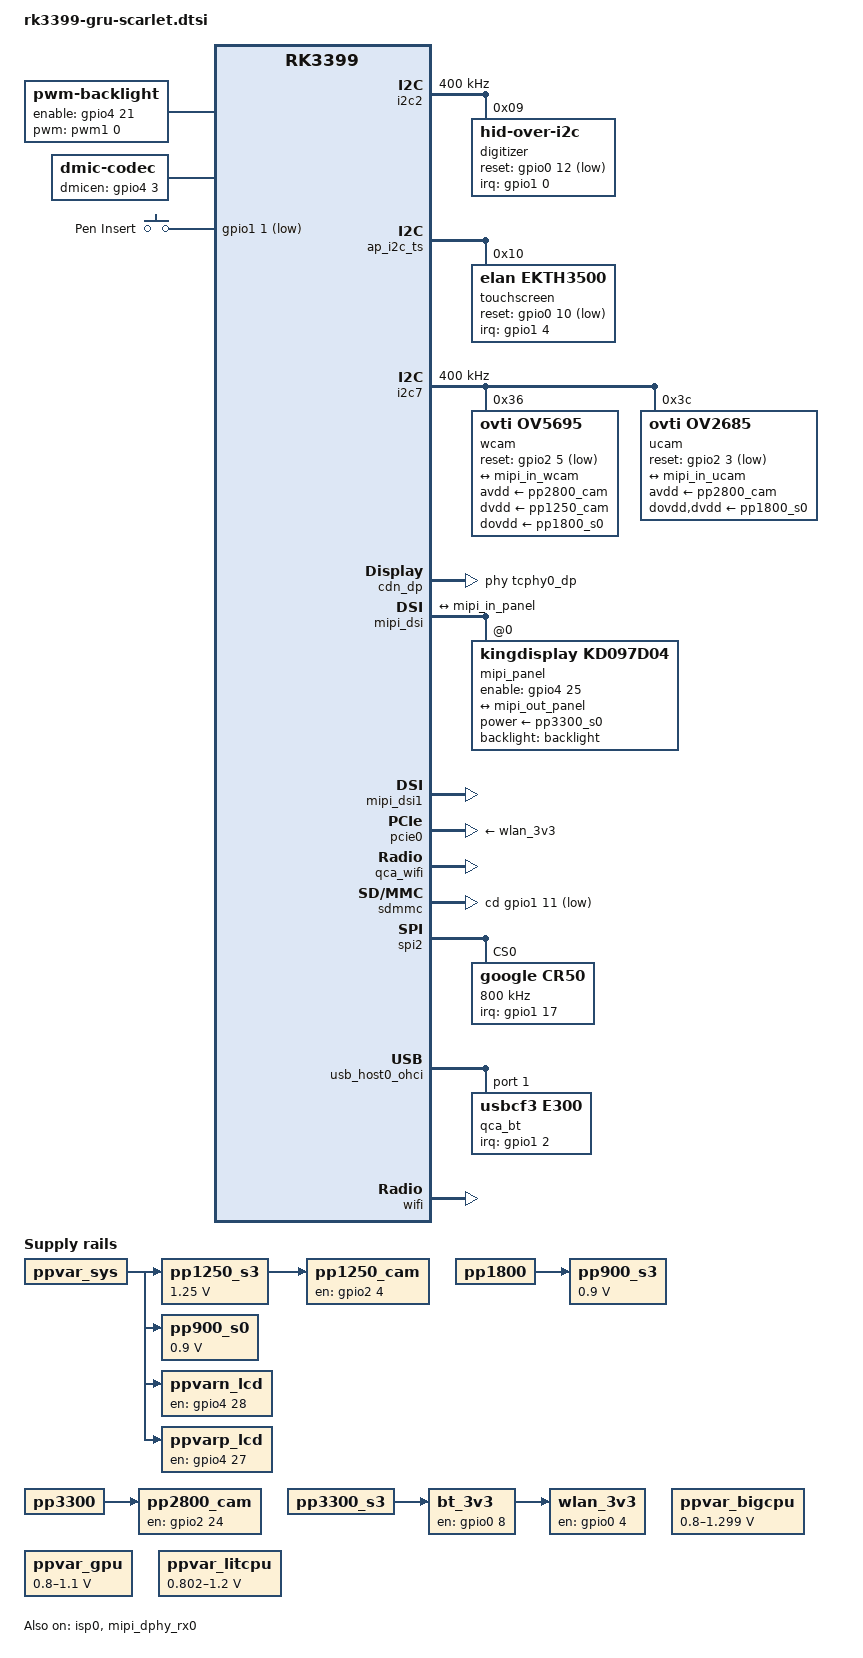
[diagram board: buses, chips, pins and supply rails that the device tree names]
/*
 * Google Gru-scarlet board device tree source
 *
 * Copyright 2017 Google, Inc
 *
 * This file is dual-licensed: you can use it either under the terms
 * of the GPL or the X11 license, at your option. Note that this dual
 * licensing only applies to this file, and not this project as a
 * whole.
 *
 *  a) This file is free software; you can redistribute it and/or
 *     modify it under the terms of the GNU General Public License as
 *     published by the Free Software Foundation; either version 2 of the
 *     License, or (at your option) any later version.
 *
 *     This file is distributed in the hope that it will be useful,
 *     but WITHOUT ANY WARRANTY; without even the implied warranty of
 *     MERCHANTABILITY or FITNESS FOR A PARTICULAR PURPOSE.  See the
 *     GNU General Public License for more details.
 *
 *  Or, alternatively,
 *
 *  b) Permission is hereby granted, free of charge, to any person
 *     obtaining a copy of this software and associated documentation
 *     files (the "Software"), to deal in the Software without
 *     restriction, including without limitation the rights to use,
 *     copy, modify, merge, publish, distribute, sublicense, and/or
 *     sell copies of the Software, and to permit persons to whom the
 *     Software is furnished to do so, subject to the following
 *     conditions:
 *
 *     The above copyright notice and this permission notice shall be
 *     included in all copies or substantial portions of the Software.
 *
 *     THE SOFTWARE IS PROVIDED "AS IS", WITHOUT WARRANTY OF ANY KIND,
 *     EXPRESS OR IMPLIED, INCLUDING BUT NOT LIMITED TO THE WARRANTIES
 *     OF MERCHANTABILITY, FITNESS FOR A PARTICULAR PURPOSE AND
 *     NONINFRINGEMENT. IN NO EVENT SHALL THE AUTHORS OR COPYRIGHT
 *     HOLDERS BE LIABLE FOR ANY CLAIM, DAMAGES OR OTHER LIABILITY,
 *     WHETHER IN AN ACTION OF CONTRACT, TORT OR OTHERWISE, ARISING
 *     FROM, OUT OF OR IN CONNECTION WITH THE SOFTWARE OR THE USE OR
 *     OTHER DEALINGS IN THE SOFTWARE.
 */

#include "rk3399-gru.dtsi"

/{
	/* REGULATORS */

	/* ppvar_sys children, sorted by name */
	pp1250_s3: pp1250-s3 {
		compatible = "regulator-fixed";
		regulator-name = "pp1250_s3";

		/* EC turns on w/ pp1250_s3_en; always on for AP */
		regulator-always-on;
		regulator-boot-on;

		regulator-min-microvolt = <1250000>;
		regulator-max-microvolt = <1250000>;

		vin-supply = <&ppvar_sys>;
	};

	pp1250_cam: pp1250-dvdd {
		compatible = "regulator-fixed";
		regulator-name = "pp1250_dvdd";
		pinctrl-names = "default";
		pinctrl-0 = <&pp1250_cam_en>;

		enable-active-high;
		gpio = <&gpio2 4 GPIO_ACTIVE_HIGH>;
		/* 740us delay from gpio output high to pp1250 stable,
		 * rounding up to 1ms for safety.
		 */
		startup-delay-us = <1000>;
		vin-supply = <&pp1250_s3>;
	};

	pp900_s0: pp900-s0 {
		compatible = "regulator-fixed";
		regulator-name = "pp900_s0";

		/* EC turns on w/ pp900_s0_en; always on for AP */
		regulator-always-on;
		regulator-boot-on;

		regulator-min-microvolt = <900000>;
		regulator-max-microvolt = <900000>;

		vin-supply = <&ppvar_sys>;
	};

	ppvarn_lcd: ppvarn-lcd {
		compatible = "regulator-fixed";
		regulator-name = "ppvarn_lcd";
		pinctrl-names = "default";
		pinctrl-0 = <&ppvarn_lcd_en>;

		enable-active-high;

		gpio = <&gpio4 28 GPIO_ACTIVE_HIGH>;
		vin-supply = <&ppvar_sys>;
	};

	ppvarp_lcd: ppvarp-lcd {
		compatible = "regulator-fixed";
		regulator-name = "ppvarp_lcd";
		pinctrl-names = "default";
		pinctrl-0 = <&ppvarp_lcd_en>;

		enable-active-high;

		gpio = <&gpio4 27 GPIO_ACTIVE_HIGH>;
		vin-supply = <&ppvar_sys>;
	};

	/* pp1800 children, sorted by name */
	pp900_s3: pp900-s3 {
		compatible = "regulator-fixed";
		regulator-name = "pp900_s3";

		/* EC turns on w/ pp900_s3_en; always on for AP */
		regulator-always-on;
		regulator-boot-on;

		regulator-min-microvolt = <900000>;
		regulator-max-microvolt = <900000>;

		vin-supply = <&pp1800>;
	};

	/* EC turns on pp1800_s3_en */
	pp1800_s3: pp1800 {
	};

	/* pp3300 children, sorted by name */
	pp2800_cam: pp2800-avdd {
		compatible = "regulator-fixed";
		regulator-name = "pp2800_avdd";
		pinctrl-names = "default";
		pinctrl-0 = <&pp2800_cam_en>;

		enable-active-high;
		gpio = <&gpio2 24 GPIO_ACTIVE_HIGH>;

		startup-delay-us = <100>;
		vin-supply = <&pp3300>;
	};

	/* EC turns on pp3300_s0_en */
	pp3300_s0: pp3300 {
	};

	/* EC turns on pp3300_s3_en */
	pp3300_s3: pp3300 {
	};

	/*
	 * See b/66922012
	 *
	 * This is a hack to make sure the Bluetooth part of the QCA6174A
	 * is reset at boot by toggling BT_EN. At boot BT_EN is first set
	 * to low when the bt_3v3 regulator is registered (in disabled
	 * state). The fake regulator is configured as a supply of the
	 * wlan_3v3 regulator below. When wlan_3v3 is enabled early in
	 * the boot process it also enables its supply regulator bt_3v3,
	 * which changes BT_EN to high.
	 */
	bt_3v3: bt-3v3 {
		compatible = "regulator-fixed";
		regulator-name = "bt_3v3";

		enable-active-high;
		gpio = <&gpio0 8 GPIO_ACTIVE_HIGH>;

		pinctrl-names = "default";
		pinctrl-0 = <&bt_en_1v8_l>;

		vin-supply = <&pp3300_s3>;
	};

	wlan_3v3: wlan-3v3 {
		compatible = "regulator-fixed";
		regulator-name = "wlan_3v3";

		/*
		 * The WL_EN pin is driven low when the regulator is
		 * registered, and transitions to high when the PCIe bus
		 * is powered up.
		 */
		enable-active-high;
		gpio = <&gpio0 4 GPIO_ACTIVE_HIGH>;

		pinctrl-names = "default";
		pinctrl-0 = <&wlan_pd_1v8_l>;

		/*
		 * Require minimum 10ms from power-on (e.g., PD#) to init PCIe.
		 * TODO (b/64444991): how long to assert PD#?
		 */
		regulator-enable-ramp-delay = <10000>;
		/* See bt_3v3 hack above */
		vin-supply = <&bt_3v3>;
	};

	/* END REGULATORS */

	/* MISC */
	backlight: backlight {
		compatible = "pwm-backlight";
		brightness-levels-scale = <0x10000>;
		default-brightness-level = <0x828f>; /* arbitrary, ~51% */
		enable-gpios = <&gpio4 21 GPIO_ACTIVE_HIGH>;
		pinctrl-names = "default";
		pinctrl-0 = <&bl_en>;
		pwms = <&pwm1 0 1000000 0>;
		pwm-delay-us = <10000>;
	};

	dmic: dmic {
		compatible = "dmic-codec";
		pinctrl-names = "default";
		pinctrl-0 = <&dmic_en>;

		dmicen-gpios = <&gpio4 3 GPIO_ACTIVE_HIGH>;
		wakeup-delay-ms = <250>;
	};
};

/* REGULATOR OVERRIDES (node deletions first) */

/* On scarlet there's no exact pp900_ap; instead there is pp900_s0 / pp900_s3 */
/delete-node/ &pp900_ap;

/* Scarlet doesn't have variable centerlogic; folded into pp900_s0 */
/delete-node/ &ppvar_centerlogic;

/* No more "logic en" pin for turning this on; folded into pp900_s0 */
/delete-node/ &ppvar_logic;

/delete-node/ &pp1800_audio;
/delete-node/ &pp1800_pcie;
/delete-node/ &pp3000;
/delete-node/ &pp1500_ap_io;
/delete-node/ &pp3300_disp;
/delete-node/ &pp3300_wifi_bt;
/delete-node/ &wlan_pd_n;

/* pp900_s0 aliases */
pp900_pcie: &pp900_s0 {
};
pp900_usb: &pp900_s0 {
};
pp900_ddrpll_ap: &pp900_s0 {
};

/* pp900_s3 aliases */
pp900_emmcpll: &pp900_s3 {
};

/* EC turns on; alias for pp1800_s0 */
pp1800_pcie: &pp1800_s0 {
};

/* On scarlet PPVAR(big_cpu, lit_cpu, gpu) need to adjust voltage ranges */
&ppvar_bigcpu {
	/* No pesky OVP here. */
	/delete-property/ slowest-decay-rate;
	/delete-property/ safe-fall-percent;

	/* On scarlet ppvar big cpu use pwm3 */
	pwms = <&pwm3 0 3337 0>;
	regulator-min-microvolt = <800074>;
	regulator-max-microvolt = <1299226>;
};

&ppvar_gpu {
	/* No pesky OVP here. */
	/delete-property/ slowest-decay-rate;
	/delete-property/ safe-fall-percent;

	regulator-min-microvolt = <799600>;
	regulator-max-microvolt = <1099600>;
};

&ppvar_litcpu {
	/* No pesky OVP here. */
	/delete-property/ slowest-decay-rate;
	/delete-property/ safe-fall-percent;

	regulator-min-microvolt = <802122>;
	regulator-max-microvolt = <1199620>;
};

&ppvar_sd_card_io {
	states = <1800000 0x0 3300000 0x1>;
	regulator-max-microvolt = <3300000>;
};

&pp3000_sd_slot {
	vin-supply = <&pp3300>;
};

/* MISC OVERRIDES (node deletions first) */
/delete-node/ &cros_ec_pwm;

/* No rt5514 */
/delete-node/ &headsetcodec;

/* No rt5514 */
/delete-node/ &wacky_spi_audio;

/delete-node/ &mvl_wifi;

/* Wake-on-BT handled in USB node. */
/delete-node/ &wake_on_bt;

ap_i2c_dig: &i2c2 {
	status = "okay";

	clock-frequency = <400000>;

	/* These are relatively safe rise/fall times. */
	i2c-scl-falling-time-ns = <50>;
	i2c-scl-rising-time-ns = <300>;

	digitizer: digitizer@9 {
		compatible = "hid-over-i2c";
		reg = <0x9>;
		pinctrl-names = "default";
		pinctrl-0 = <&pen_int_odl &pen_reset_l>;

		interrupt-parent = <&gpio1>;
		interrupts = <0 IRQ_TYPE_LEVEL_LOW>;

		reset-gpios = <&gpio0 12 GPIO_ACTIVE_LOW>;
		assert-reset-us = <1000>;
		deassert-reset-us = <30000>;

		hid-descr-addr = <0x1>;
	};
};

&ap_i2c_mic {
	status = "disabled";
};

&ap_i2c_tp {
	status = "disabled";
};

&ap_i2c_ts {
	touchscreen: touchscreen@10 {
		compatible = "elan,ekth3500";
		reg = <0x10>;

		pinctrl-names = "default";
		pinctrl-0 = <&touch_int_l &touch_reset_l>;

		interrupt-parent = <&gpio1>;
		interrupts = <4 IRQ_TYPE_LEVEL_LOW>;

		reset-gpios = <&gpio0 10 GPIO_ACTIVE_LOW>;
	};
};

camera: &i2c7 {
	status = "okay";

	/* 24M mclk is shared between world and user cameras */
	pinctrl-0 = <&i2c7_xfer &test_clkout1>;

	clock-frequency = <400000>;

	/* These are relatively safe rise/fall times; TODO: measure */
	i2c-scl-falling-time-ns = <50>;
	i2c-scl-rising-time-ns = <300>;

	wcam: camera@36 {
		compatible = "ovti,ov5695";
		reg = <0x36>;
		pinctrl-names = "default";
		pinctrl-0 = <&wcam_rst>;

		clocks = <&cru SCLK_TESTCLKOUT1>;
		clock-names = "xvclk";

		avdd-supply = <&pp2800_cam>;
		dvdd-supply = <&pp1250_cam>;
		dovdd-supply = <&pp1800_s0>;
		reset-gpios = <&gpio2 5 GPIO_ACTIVE_LOW>;

		port {
			wcam_out: endpoint {
				remote-endpoint = <&mipi_in_wcam>;
				data-lanes = <1 2>;
			};
		};
	};

	ucam: camera@3c {
		compatible = "ovti,ov2685";
		reg = <0x3c>;
		pinctrl-names = "default";
		pinctrl-0 = <&ucam_rst>;

		clocks = <&cru SCLK_TESTCLKOUT1>;
		clock-names = "xvclk";

		avdd-supply = <&pp2800_cam>;
		dovdd-supply = <&pp1800_s0>;
		dvdd-supply = <&pp1800_s0>;
		reset-gpios = <&gpio2 3 GPIO_ACTIVE_LOW>;

		port {
			ucam_out: endpoint {
				remote-endpoint = <&mipi_in_ucam>;
				data-lanes = <1>;
			};
		};
	};
};

&cdn_dp {
	extcon = <&usbc_extcon0>;
	phys = <&tcphy0_dp>;
};

&cros_ec {
	interrupt-parent = <&gpio1>;
	interrupts = <18 IRQ_TYPE_LEVEL_LOW>;

	throttler-opps = <&cl0_opp03    /* little cores: 1.008 GHz */
			  &cl1_opp05    /* big cores: 1.416 GHz */
			  &gpu_opp03>;  /* GPU: 500 MHz */
};

/* add labels to OPPs used for throttling */
&cluster0_opp {
	cl0_opp03: opp03 {};
};

&cluster1_opp {
	cl1_opp05: opp05 {};
};

&gpu_opp_table {
	gpu_opp03: opp03 {};
};

&cru {
	assigned-clocks =
		<&cru PLL_GPLL>, <&cru PLL_CPLL>,
		<&cru PLL_NPLL>,
		<&cru ACLK_PERIHP>, <&cru HCLK_PERIHP>,
		<&cru PCLK_PERIHP>,
		<&cru ACLK_PERILP0>, <&cru HCLK_PERILP0>,
		<&cru PCLK_PERILP0>, <&cru ACLK_CCI>,
		<&cru HCLK_PERILP1>, <&cru PCLK_PERILP1>,
		<&cru ACLK_VIO>,
		<&cru ACLK_GIC_PRE>,
		<&cru PCLK_DDR>,
		<&cru ACLK_HDCP>;
	assigned-clock-rates =
		<600000000>, <1600000000>,
		<1000000000>,
		<150000000>, <75000000>,
		<37500000>,
		<100000000>, <100000000>,
		<50000000>, <800000000>,
		<100000000>, <50000000>,
		<400000000>,
		<200000000>,
		<200000000>,
		<400000000>;
};

/* The center supply is fixed to .9V on scarlet */
&dmc {
	center-supply = <&pp900_s0>;
};

/* We don't need .925 V for 928 MHz on scarlet */
&dmc_opp_table {
	opp03 {
		opp-microvolt = <900000>;
	};
};

&ec_ap_int_l {
	rockchip,pins = <1 18 RK_FUNC_GPIO &pcfg_pull_up>;
};

&firmware {
	chromeos {
		write-protect-gpio = <&gpio0 13 GPIO_ACTIVE_LOW>;
	};
};

&gpio_keys {
	pinctrl-names = "default";
	pinctrl-0 = <&pen_eject_odl>;

	pen-insert {
		label = "Pen Insert";
		/* Insert = low, eject = high */
		gpios = <&gpio1 1 GPIO_ACTIVE_LOW>;
		linux,code = <SW_PEN_INSERTED>;
		linux,input-type = <EV_SW>;
		wakeup-source;
	};
};

&i2c_tunnel {
	google,remote-bus = <0>;
};

&io_domains {
	bt656-supply = <&pp1800_s0>;		/* APIO2_VDD;  2a 2b */
	audio-supply = <&pp1800_s0>;		/* APIO5_VDD;  3d 4a */
	gpio1830-supply = <&pp1800_s0>;		/* APIO4_VDD;  4c 4d */
};

&isp0 {
	status = "okay";

	port {
		#address-cells = <1>;
		#size-cells = <0>;

		isp0_mipi_in: endpoint@0 {
			reg = <0>;
			remote-endpoint = <&dphy_rx0_out>;
		};
	};
};

&isp0_mmu {
	status = "okay";
};

&its {
	reset-on-suspend;
};

&max98357a {
	sdmode-gpios = <&gpio0 2 GPIO_ACTIVE_HIGH>;
};

&mipi_dphy_rx0 {
	status = "okay";

	ports {
		#address-cells = <1>;
		#size-cells = <0>;

		port@0 {
			reg = <0>;
			#address-cells = <1>;
			#size-cells = <0>;

			mipi_in_wcam: endpoint@0 {
				reg = <0>;
				remote-endpoint = <&wcam_out>;
				data-lanes = <1 2>;
			};

			mipi_in_ucam: endpoint@1 {
				reg = <1>;
				remote-endpoint = <&ucam_out>;
				data-lanes = <1>;
			};
		};

		port@1 {
			reg = <1>;
			#address-cells = <1>;
			#size-cells = <0>;

			dphy_rx0_out: endpoint@0 {
				reg = <0>;
				remote-endpoint = <&isp0_mipi_in>;
			};
		};
	};
};

&mipi_dsi {
	status = "okay";
	rockchip,dual-channel = <&mipi_dsi1>;

	ports {
		mipi_out: port@1 {
			reg = <1>;

			mipi_out_panel: endpoint {
				remote-endpoint = <&mipi_in_panel>;
			};
		};
	};

	mipi_panel: panel@0 {
		compatible = "kingdisplay,kd097d04";
		reg = <0>;
		backlight = <&backlight>;
		pinctrl-names = "default";
		pinctrl-0 = <&display_rst_l>;
		enable-gpios = <&gpio4 25 GPIO_ACTIVE_HIGH>;
		power-supply = <&pp3300_s0>;

		port {
			mipi_in_panel: endpoint {
				remote-endpoint = <&mipi_out_panel>;
			};
		};
	};
};

&mipi_dsi1 {
	status = "okay";
};

&pcie0 {
	ep-gpios = <&gpio0 3 GPIO_ACTIVE_HIGH>;

	/* PERST# asserted in S3 */
	pcie-reset-suspend = <1>;

	vpcie3v3-supply = <&wlan_3v3>;
	vpcie1v8-supply = <&pp1800_pcie>;
};

&pci_rootport {
	qca_wifi: wifi@0,0 {
		compatible = "qcom,ath10k";
		reg = <0x83010000 0x0 0x00000000 0x0 0x00100000
		       0x83010000 0x0 0x00100000 0x0 0x00100000>;
	};
};

&sdmmc {
	cd-gpios = <&gpio1 11 GPIO_ACTIVE_LOW>;
};

&soc_thermal {
	sustainable-power = <2000>; /* milliwatts */
};

&sound {
	rockchip,codec = <&max98357a &dmic &codec &cdn_dp>;
};

&spi2 {
	status = "okay";

	cr50@0 {
		compatible = "google,cr50";

		interrupt-parent = <&gpio1>;
		interrupts = <17 IRQ_TYPE_EDGE_RISING>;

		pinctrl-names = "default";
		pinctrl-0 = <&h1_int_od_l>;

		reg = <0>;
		spi-max-frequency = <800000>;
	};
};

&target {
	temperature = <71000>;
};

&tcphy0 {
	rockchip,phy-config = <0x2a 0x00>,
			<0x1f 0x15>,
			<0x14 0x22>,
			<0x02 0x2b>,

			<0x21 0x00>,
			<0x12 0x15>,
			<0x02 0x22>,
			<0 0>,

			<0x15 0x04>,
			<0x00 0x20>,
			<0 0>,
			<0 0>;
};

&tcphy1 {
	status = "disabled";
};

&threshold {
	temperature = <66000>;
};

&u2phy1 {
	status = "disabled";
};

&usb_host0_ehci {
	status = "disabled";
};

&usb_host0_ohci {
	#address-cells = <1>;
	#size-cells = <0>;

	qca_bt: bluetooth@1 {
		compatible = "usbcf3,e300", "usb4ca,301a";
		reg = <1>;
		pinctrl-names = "default";
		pinctrl-0 = <&bt_host_wake_l>;
		interrupt-parent = <&gpio1>;
		interrupts = <2 IRQ_TYPE_LEVEL_HIGH>;
		interrupt-names = "wakeup";
	};
};

&usb_host1_ehci {
	status = "disabled";
};

&usb_host1_ohci {
	status = "disabled";
};

&usbc_extcon1 {
	status = "disabled";
};

&usbdrd3_1 {
	status = "disabled";
};

&usbdrd_dwc3_1 {
	status = "disabled";
};

/* PINCTRL OVERRIDES */
&ap_fw_wp {
	rockchip,pins = <0 13 RK_FUNC_GPIO &pcfg_pull_none>;
};

&bl_en {
	rockchip,pins = <4 21 RK_FUNC_GPIO &pcfg_pull_none>;
};

&bt_host_wake_l {
	rockchip,pins = <1 2 RK_FUNC_GPIO &pcfg_pull_none>;
};

&ec_ap_int_l {
	rockchip,pins = <1 18 RK_FUNC_GPIO &pcfg_pull_up>;
};

&h1_int_od_l {
	rockchip,pins = <1 17 RK_FUNC_GPIO &pcfg_pull_up>;
};

&headset_int_l {
	rockchip,pins = <1 23 RK_FUNC_GPIO &pcfg_pull_up>;
};

/* there is no external pull up, so need to set this pin pull up */
&sdmmc_cd_gpio {
	rockchip,pins = <1 11 RK_FUNC_GPIO &pcfg_pull_up>;
};

&sd_pwr_1800_sel {
	rockchip,pins = <2 28 RK_FUNC_GPIO &pcfg_pull_up>;
};

&sdmode_en {
	rockchip,pins = <0 2 RK_FUNC_GPIO &pcfg_pull_down>;
};

&touch_reset_l {
	rockchip,pins = <0 10 RK_FUNC_GPIO &pcfg_pull_down>;
};

&touch_int_l {
	rockchip,pins = <1 4 RK_FUNC_GPIO &pcfg_pull_down>;
};

&wlan_host_wake_l {
	rockchip,pins = <1 3 RK_FUNC_GPIO &pcfg_pull_up>;
};

&wifi_perst_l {
	rockchip,pins = <0 3 RK_FUNC_GPIO &pcfg_pull_none>;
};

/delete-node/ &pp1800_audio_en;
/delete-node/ &pp1500_en;
/delete-node/ &pp3300_disp_en;
/delete-node/ &pp3000_en;
/delete-node/ &wlan_module_pd_l;

&pinctrl {
	pinctrl-0 = <
		&ap_pwroff	/* AP will auto-assert this when in S3 */
		&clk_32k	/* This pin is always 32k on gru boards */
		&wlan_rf_kill_1v8_l
	>;

	pcfg_pull_none_6ma: pcfg-pull-none-6ma {
		bias-disable;
		drive-strength = <6>;
	};

	camera {
		pp1250_cam_en: pp1250-dvdd {
			rockchip,pins = <2 4 RK_FUNC_GPIO &pcfg_pull_none>;
		};

		pp2800_cam_en: pp2800-avdd {
			rockchip,pins = <2 24 RK_FUNC_GPIO &pcfg_pull_none>;
		};

		ucam_rst: ucam_rst {
			rockchip,pins = <2 3 RK_FUNC_GPIO &pcfg_pull_none>;
		};

		wcam_rst: wcam_rst {
			rockchip,pins = <2 5 RK_FUNC_GPIO &pcfg_pull_none>;
		};
	};

	digitizer {
		pen_int_odl: pen-int-odl {
			rockchip,pins = <1 0 RK_FUNC_GPIO &pcfg_pull_up>;
		};

		pen_reset_l: pen-reset-l {
			rockchip,pins = <0 12 RK_FUNC_GPIO &pcfg_pull_none>;
		};
	};

	dmic {
		dmic_en: dmic-en {
			rockchip,pins = <4 3 RK_FUNC_GPIO &pcfg_pull_none>;
		};
	};

	pen {
		pen_eject_odl: pen-eject-odl {
			rockchip,pins = <1 1 RK_FUNC_GPIO &pcfg_pull_up>;
		};
	};
};

&discrete_regulators {
	display_rst_l: display-rst-l {
		rockchip,pins = <4 25 RK_FUNC_GPIO &pcfg_pull_down>;
	};

	ppvarp_lcd_en: ppvarp-lcd-en {
		rockchip,pins = <4 27 RK_FUNC_GPIO &pcfg_pull_none>;
	};

	ppvarn_lcd_en: ppvarn-lcd-en {
		rockchip,pins = <4 28 RK_FUNC_GPIO &pcfg_pull_none>;
	};
};

&i2s0_8ch_bus {
	rockchip,pins =
		<3 24 RK_FUNC_1 &pcfg_pull_none_6ma>,
		<3 25 RK_FUNC_1 &pcfg_pull_none_6ma>,
		<3 26 RK_FUNC_1 &pcfg_pull_none_6ma>,
		<3 27 RK_FUNC_1 &pcfg_pull_none_6ma>,
		<3 31 RK_FUNC_1 &pcfg_pull_none_6ma>,
		<4 0 RK_FUNC_1 &pcfg_pull_none_6ma>;
};

&wifi {
	bt_en_1v8_l: bt-en-1v8-l {
		rockchip,pins = <0 8 RK_FUNC_GPIO &pcfg_pull_none>;
	};

	wlan_pd_1v8_l: wlan-pd-1v8-l {
		rockchip,pins = <0 4 RK_FUNC_GPIO &pcfg_pull_none>;
	};

	/* Default pull-up, but just to be clear */
	wlan_rf_kill_1v8_l: wlan-rf-kill-1v8-l {
		rockchip,pins = <0 5 RK_FUNC_GPIO &pcfg_pull_up>;
	};
};
